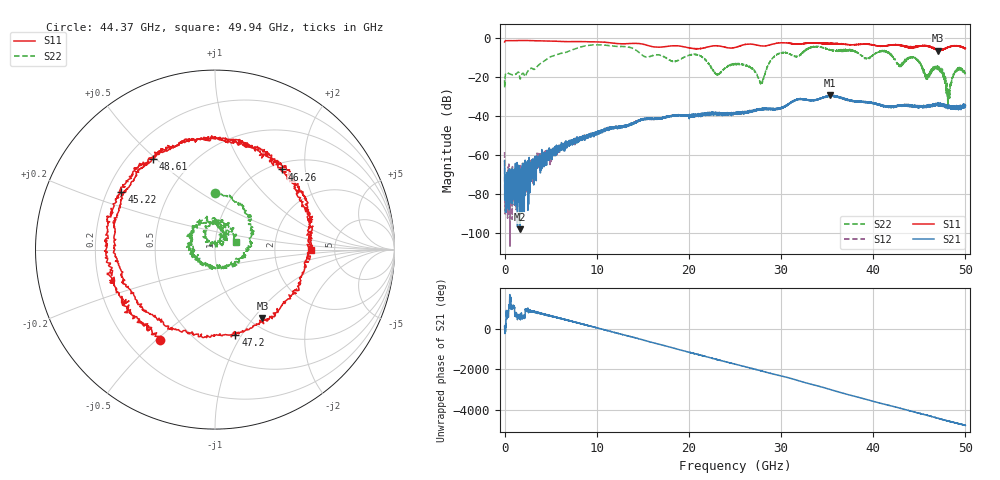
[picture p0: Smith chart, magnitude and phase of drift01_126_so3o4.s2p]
!Created with skrf (http://scikit-rf.org).
# Hz S RI R 50.0
!freq ReS11 ImS11 ReS21 ImS21 ReS12 ImS12 ReS22 ImS22
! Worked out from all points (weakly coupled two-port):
!   10001 points, 300 kHz to 50 GHz, reference 50 ohm
!   highest |S21| = -29.50 dB at 35.27 GHz (marker M1); lowest = -98.4 dB at 1.67 GHz (marker M2)
!   lowest |S11| = -6.7 dB at 47.07 GHz (marker M3), VSWR 2.73, Z = 57.1 - j55.5 ohm
!   |S11| at or under -10 dB: nowhere
!   |S22| runs from -36.0 to -3.6 dB; largest |S21 - S12| = 0.0042
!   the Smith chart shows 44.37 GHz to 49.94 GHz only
!   S11 on the Smith chart (normalised r, x): 44.37 GHz: 0.33, -0.51; 45.22 GHz: 0.26, +0.27; 46.26 GHz: 1.12, +1.52; 47.2 GHz: 0.75, -0.94; 48.61 GHz: 0.30, +0.49; 49.94 GHz: 3.28, -0.01
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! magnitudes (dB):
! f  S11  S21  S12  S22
! 300 kHz  -2.1  -62.9  -58.7  -21.7
! 255.3 MHz  -1.4  -78.8  -78.3  -18.0
! 1.67 GHz  -1.4  -98.4  -68.6  -21.1
! 8.335 GHz  -2.0  -51.3  -52.1  -4.5
! 16.67 GHz  -4.8  -41.2  -41.5  -8.7
! 20.97 GHz  -5.6  -39.7  -39.4  -8.8
! 23.08 GHz  -4.1  -38.9  -39.2  -18.8
! 25 GHz  -5.0  -39.1  -38.9  -13.6
! 27.84 GHz  -4.1  -36.6  -36.6  -23.0
! 29.47 GHz  -2.8  -36.5  -36.4  -8.8
! 33.34 GHz  -2.6  -32.0  -31.8  -4.7
! 35.27 GHz  -3.0  -29.5  -29.8  -6.0
! 41.67 GHz  -3.9  -35.8  -35.4  -7.8
! 44.37 GHz  -4.6  -35.3  -35.0  -10.0
! 45.22 GHz  -4.3  -35.5  -35.0  -14.0
! 46.26 GHz  -4.7  -34.5  -34.8  -17.8
! 47.07 GHz  -6.7  -34.3  -34.2  -16.2
! 47.2 GHz  -6.2  -34.1  -34.0  -15.9
! 48.13 GHz  -4.8  -35.0  -35.0  -31.7
! 48.61 GHz  -4.3  -36.3  -36.2  -21.0
! 49.94 GHz  -5.5  -34.9  -35.0  -18.2
! 50 GHz  -5.4  -34.7  -35.2  -18.6
